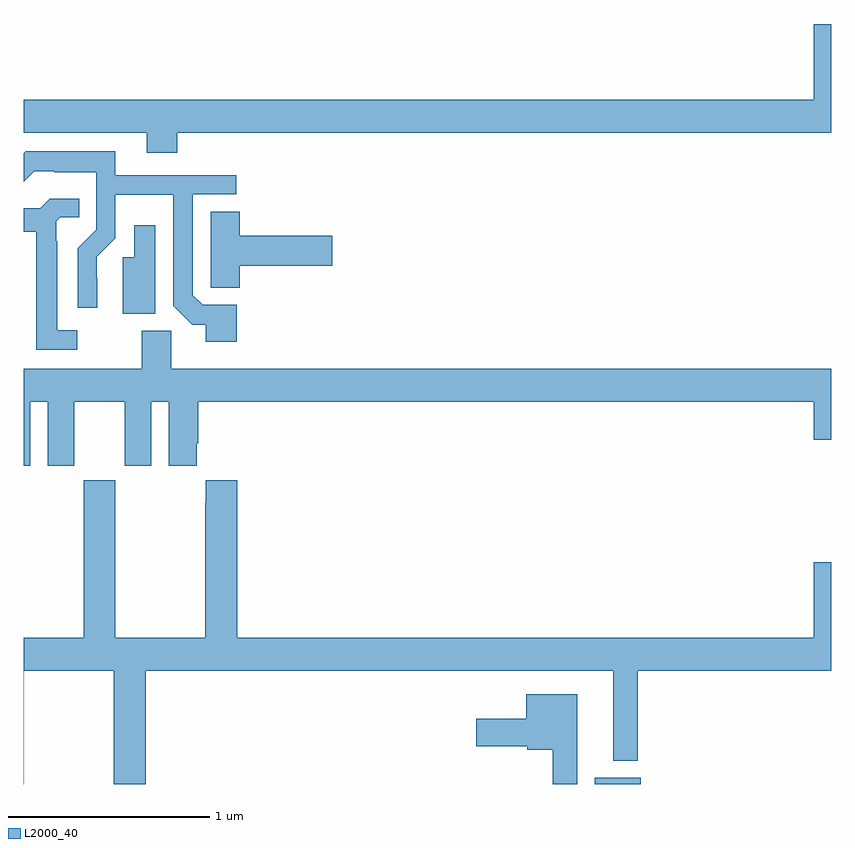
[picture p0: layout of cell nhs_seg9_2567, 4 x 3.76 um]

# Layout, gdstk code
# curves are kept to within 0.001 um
import gdstk
lib = gdstk.Library(unit=1e-6, precision=1e-09)
def R(c, l, rs):  # rectangles x0, y0, x1, y1
    for r in rs: c.add(gdstk.rectangle(r[:2], r[2:], *l))
def P(c, l, *ps):  # polygons
    for p in ps: c.add(gdstk.Polygon(p, *l))
L2000_40 = (2000, 40)

nhs_seg9_2567 = lib.new_cell('nhs_seg9_2567')
R(nhs_seg9_2567, L2000_40, [(259.829,1222.5,260.056,1222.531)])
P(nhs_seg9_2567, L2000_40, [(257,1225.724),(257.609,1225.724),(257.609,1225.625),(257.762,1225.625),(257.762,1225.724),(261,1225.724),(261,1226.263),(260.912,1226.263),(260.912,1225.888),(257,1225.888)],
  [(258.056,1224.873),(257.886,1224.873),(257.838,1224.921),(257.838,1225.419),(258.052,1225.419),(258.052,1225.515),(257.455,1225.515),(257.455,1225.633),(257.011,1225.633),(257,1225.622),(257,1225.481),(257.052,1225.533),(257.152,1225.533),(257.152,1225.529),(257.361,1225.529),(257.361,1225.245),(257.268,1225.152),(257.268,1224.858),(257.364,1224.858),(257.363,1225.11),(257.454,1225.202),(257.454,1225.418),(257.742,1225.418),(257.742,1224.867),(257.835,1224.775),(257.903,1224.775),(257.903,1224.69),(258.056,1224.69)],
  [(257.266,1224.747),(257.167,1224.747),(257.167,1225.187),(257.163,1225.187),(257.163,1225.287),(257.181,1225.305),(257.276,1225.305),(257.276,1225.397),(257.13,1225.397),(257.082,1225.35),(257,1225.35),(257,1225.234),(257.063,1225.234),(257.063,1224.651),(257.266,1224.651)],
  [(258.071,1225.067),(258.529,1225.067),(258.529,1225.214),(258.071,1225.214),(258.071,1225.334),(257.927,1225.334),(257.927,1225.066),(257.928,1225.066),(257.928,1224.958),(258.071,1224.958)],
  [(257.653,1225.267),(257.549,1225.267),(257.549,1225.107),(257.492,1225.107),(257.492,1224.829),(257.653,1224.829)],
  [(257.032,1224.392),(257.12,1224.392),(257.12,1224.075),(257.251,1224.075),(257.251,1224.392),(257.501,1224.392),(257.501,1224.075),(257.632,1224.075),(257.632,1224.392),(257.72,1224.392),(257.72,1224.075),(257.857,1224.075),(257.857,1224.187),(257.864,1224.187),(257.864,1224.392),(260.912,1224.392),(260.912,1224.204),(261,1224.204),(261,1224.556),(257.73,1224.556),(257.73,1224.744),(257.584,1224.744),(257.584,1224.556),(257,1224.556),(257,1224.075),(257.032,1224.075)],
  [(257.001,1223.06),(257.446,1223.06),(257.446,1222.5),(257.606,1222.5),(257.606,1223.06),(259.919,1223.06),(259.919,1222.616),(260.041,1222.616),(260.041,1223.06),(261,1223.06),(261,1223.599),(260.912,1223.599),(260.912,1223.224),(258.059,1223.224),(258.059,1224.004),(257.903,1224.004),(257.903,1223.891),(257.899,1223.891),(257.899,1223.224),(257.454,1223.224),(257.454,1224.004),(257.299,1224.004),(257.299,1223.224),(257,1223.224),(257,1222.5),(257.001,1222.5)],
  [(259.741,1222.945),(259.49,1222.945),(259.49,1222.822),(259.242,1222.822),(259.242,1222.688),(259.494,1222.688),(259.494,1222.67),(259.62,1222.67),(259.62,1222.5),(259.741,1222.5)])

lib.write_gds('nhs_seg9_2567.gds')
